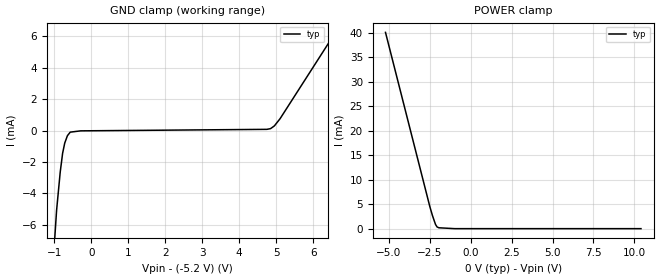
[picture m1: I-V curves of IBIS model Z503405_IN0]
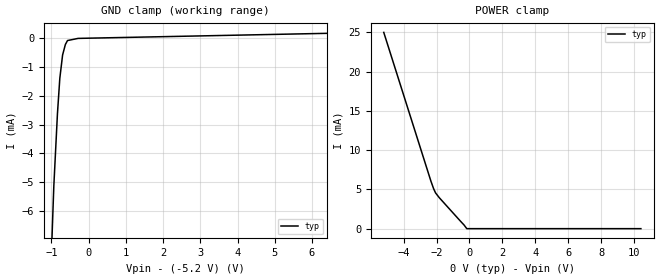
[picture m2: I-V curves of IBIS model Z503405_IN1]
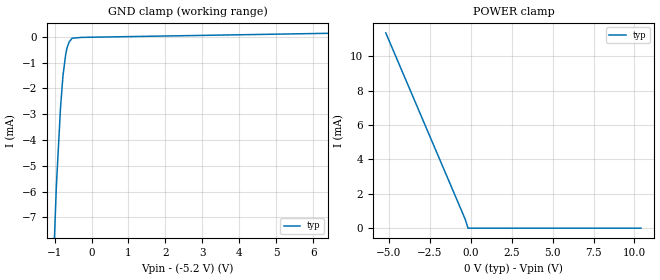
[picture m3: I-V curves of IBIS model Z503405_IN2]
| YOU ARE ONLY AUTHORIZED TO USE THIS SOFTWARE
| ACCORDING TO LICENSOR'S LICENSE RESTRICTIONS.
[IBIS Ver] 3.1
[File Name] mc10e150fn.ibs
[File Rev] 2.0
[Source] Measured and created by ICX Technology
[Date] Friday 7/14/00 9:07:49 AM
[Copyright]
| (C) COPYRIGHT 1993-2000
| MENTOR GRAPHICS CORPORATION
| ICX STANDARD LIBRARY, ICX PROJECT MODELING,
| ICX CUSTOM MODELING, ICX VENDOR MODEL
| ALL RIGHTS RESERVED.
| THE FOLLOWING ARE TRADEMARKS OR SERVICE MARKS OF
| MENTOR GRAPHICS CORPORATION:ICX (R), ICX STANDARD
| LIBRARY(R), ICX PROJECT MODELING(R), ICX CUSTOM
| MODELING(R), qualityIBIS(TM), MODELVIEWER(TM),
| AND MODELEDITOR(TM)
| ALL COPIES OF SOFTWARE, INCLUDING BUT NOT LIMITED TO
| ANY MODIFICATIONS, ENHANCEMENTS OR DERIVATIVE WORKS,
| MUST CONTAIN ALL MENTOR GRAPHICS CORPORATION'S
| NOTICES AND LEGENDS, INCLUDING THOSE EMBEDDED IN
| SOFTWARE AND THOSE AFFIXED TO SOFTWARE MEDIUM
| AND CONTAINER, AS RECEIVED FROM MENTOR GRAPHICS
| CORPORATION.
|  ZAP Model Builder 2.7
[Component] MC10E150FN
[Manufacturer] OnSemiconductor
[Package]
| variable   typ   min   max
R_pkg  .083ohms NA NA
L_pkg  4.299nH NA NA
C_pkg  1.045pF NA NA
[Pin] signal_name  model_name  R_pin  L_pin C_pin
1 VEE POWER .08 3.94n .925p
2 D2 Z503405_IN0 .082 4.14n .995p
3 D1 Z503405_IN0 .084 4.354n 1.065p
4 D0 Z503405_IN0 .086 4.583n 1.135p
5 NC NC .086 4.583n 1.135p
6 VCCO POWER .084 4.354n 1.065p
7 Q0 Z503405_OUT0 .082 4.14n .995p
8 _Q0 Z503405_OUT1 .08 3.94n .925p
9 Q1 Z503405_OUT0 .082 4.14n .995p
10 _Q1 Z503405_OUT1 .084 4.354n 1.065p
11 VCCO POWER .086 4.583n 1.135p
12 Q2 Z503405_OUT0 .086 4.583n 1.135p
13 _Q2 Z503405_OUT1 .084 4.354n 1.065p
14 Q3 Z503405_OUT0 .082 4.14n .995p
15 _Q3 Z503405_OUT1 .08 3.94n .925p
16 VCC POWER .082 4.14n .995p
17 Q4 Z503405_OUT0 .084 4.354n 1.065p
18 _Q4 Z503405_OUT1 .086 4.583n 1.135p
19 Q5 Z503405_OUT0 .086 4.583n 1.135p
20 _Q5 Z503405_OUT1 .084 4.354n 1.065p
21 VCCO POWER .082 4.14n .995p
22 NC NC .08 3.94n .925p
23 LEN1 Z503405_IN1 .082 4.14n .995p
24 LEN2 Z503405_IN1 .084 4.354n 1.065p
25 MR Z503405_IN2 .086 4.583n 1.135p
26 D5 Z503405_IN0 .086 4.583n 1.135p
27 D4 Z503405_IN0 .084 4.354n 1.065p
28 D3 Z503405_IN0 .082 4.14n .995p
| Models and submodels in the file (5): Z503405_IN0 (Input_ECL), Z503405_IN1 (Input_ECL), Z503405_IN2 (Input_ECL), Z503405_OUT0 (Output_ECL), Z503405_OUT1 (Output_ECL)
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| (C) COPYRIGHT 1993-2000
| MENTOR GRAPHICS CORPORATION
| ICX STANDARD LIBRARY, ICX PROJECT MODELING,
| ICX CUSTOM MODELING, ICX VENDOR MODEL
| ALL RIGHTS RESERVED.
| THE FOLLOWING ARE TRADEMARKS OR SERVICE MARKS OF
| MENTOR GRAPHICS CORPORATION:ICX (R), ICX STANDARD
| LIBRARY(R), ICX PROJECT MODELING(R), ICX CUSTOM
| MODELING(R), qualityIBIS(TM), MODELVIEWER(TM),
| AND MODELEDITOR(TM)
| ALL COPIES OF SOFTWARE, INCLUDING BUT NOT LIMITED TO
| ANY MODIFICATIONS, ENHANCEMENTS OR DERIVATIVE WORKS,
| MUST CONTAIN ALL MENTOR GRAPHICS CORPORATION'S
| NOTICES AND LEGENDS, INCLUDING THOSE EMBEDDED IN
| SOFTWARE AND THOSE AFFIXED TO SOFTWARE MEDIUM
| AND CONTAINER, AS RECEIVED FROM MENTOR GRAPHICS
| CORPORATION.
| Model Application Version 1.89 2/18/99.
[Model] Z503405_IN0
Model_type Input_ECL
Vinl = -1.480V
Vinh = -1.130V
C_comp 4.000pF NA NA
| variable typ   min   max
[Voltage Range] -5.200V NA NA
[GND Clamp Reference] -5.200V NA NA
[POWER Clamp Reference] 0.000V NA NA
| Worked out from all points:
|   GND clamp passes 1 mA (typ) near -0.74 V on its own axis
|   POWER clamp passes 1 mA (typ) near -2.16 V on its own axis
[GND Clamp]
-5.2V     -221.6mA   NA         NA
-1.099V   -10.81mA   NA         NA
-938mV    -5.079mA   NA         NA
-840mV    -2.646mA   NA         NA
-775mV    -1.447mA   NA         NA
-718mV    -797.8uA   NA         NA
-645mV    -328.1uA   NA         NA
-569mV    -103.4uA   NA         NA
4.849V    121.5uA    NA         NA
4.951V    293.9uA    NA         NA
5.107V    756.9uA    NA         NA
10.4V     20.16mA    NA         NA
[POWER Clamp]
-5.2V     40.06mA    NA         NA
-2.495V   4.536mA    NA         NA
-2.339V   2.738mA    NA         NA
-2.146V   861.6uA    NA         NA
-2.051V   349.8uA    NA         NA
-1.941V   179uA      NA         NA
-970.5mV  0A         NA         NA
10.4V     0A         NA         NA
| (C) COPYRIGHT 1993-2000
| MENTOR GRAPHICS CORPORATION
| ICX STANDARD LIBRARY, ICX PROJECT MODELING,
| ICX CUSTOM MODELING, ICX VENDOR MODEL
| ALL RIGHTS RESERVED.
| THE FOLLOWING ARE TRADEMARKS OR SERVICE MARKS OF
| MENTOR GRAPHICS CORPORATION:ICX (R), ICX STANDARD
| LIBRARY(R), ICX PROJECT MODELING(R), ICX CUSTOM
| MODELING(R), qualityIBIS(TM), MODELVIEWER(TM),
| AND MODELEDITOR(TM)
| ALL COPIES OF SOFTWARE, INCLUDING BUT NOT LIMITED TO
| ANY MODIFICATIONS, ENHANCEMENTS OR DERIVATIVE WORKS,
| MUST CONTAIN ALL MENTOR GRAPHICS CORPORATION'S
| NOTICES AND LEGENDS, INCLUDING THOSE EMBEDDED IN
| SOFTWARE AND THOSE AFFIXED TO SOFTWARE MEDIUM
| AND CONTAINER, AS RECEIVED FROM MENTOR GRAPHICS
| CORPORATION.
| Model Application Version 1.89 2/18/99.
[Model] Z503405_IN1
Model_type Input_ECL
Vinl = -1.480V
Vinh = -1.130V
C_comp 4.000pF NA NA
| variable typ   min   max
[Voltage Range] -5.200V NA NA
[GND Clamp Reference] -5.200V NA NA
[POWER Clamp Reference] 0.000V NA NA
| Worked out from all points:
|   GND clamp passes 1 mA (typ) near -0.74 V on its own axis
[GND Clamp]
-5.2V     -219.9mA   NA         NA
-1.097V   -10.95mA   NA         NA
-937mV    -5.136mA   NA         NA
-840mV    -2.638mA   NA         NA
-776mV    -1.404mA   NA         NA
-701mV    -592.7uA   NA         NA
-626mV    -229uA     NA         NA
-569mV    -93.41uA   NA         NA
-284.5mV  -19.25uA   NA         NA
10.4V     261uA      NA         NA
[POWER Clamp]
-5.2V     25mA       NA         NA
-2.339V   6.05mA     NA         NA
-2.173V   5.077mA    NA         NA
-2.056V   4.551mA    NA         NA
-1.825V   3.929mA    NA         NA
-541mV    941.2uA    NA         NA
-326.2mV  459.5uA    NA         NA
-163.1mV  0A         NA         NA
10.4V     0A         NA         NA
| (C) COPYRIGHT 1993-2000
| MENTOR GRAPHICS CORPORATION
| ICX STANDARD LIBRARY, ICX PROJECT MODELING,
| ICX CUSTOM MODELING, ICX VENDOR MODEL
| ALL RIGHTS RESERVED.
| THE FOLLOWING ARE TRADEMARKS OR SERVICE MARKS OF
| MENTOR GRAPHICS CORPORATION:ICX (R), ICX STANDARD
| LIBRARY(R), ICX PROJECT MODELING(R), ICX CUSTOM
| MODELING(R), qualityIBIS(TM), MODELVIEWER(TM),
| AND MODELEDITOR(TM)
| ALL COPIES OF SOFTWARE, INCLUDING BUT NOT LIMITED TO
| ANY MODIFICATIONS, ENHANCEMENTS OR DERIVATIVE WORKS,
| MUST CONTAIN ALL MENTOR GRAPHICS CORPORATION'S
| NOTICES AND LEGENDS, INCLUDING THOSE EMBEDDED IN
| SOFTWARE AND THOSE AFFIXED TO SOFTWARE MEDIUM
| AND CONTAINER, AS RECEIVED FROM MENTOR GRAPHICS
| CORPORATION.
| Model Application Version 1.89 2/18/99.
[Model] Z503405_IN2
Model_type Input_ECL
Vinl = -1.480V
Vinh = -1.130V
C_comp 4.000pF NA NA
| variable typ   min   max
[Voltage Range] -5.200V NA NA
[GND Clamp Reference] -5.200V NA NA
[POWER Clamp Reference] 0.000V NA NA
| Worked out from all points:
|   GND clamp passes 1 mA (typ) near -0.73 V on its own axis
[GND Clamp]
-5.2V     -234mA     NA         NA
-1.094V   -11.25mA   NA         NA
-951mV    -5.769mA   NA         NA
-840mV    -2.757mA   NA         NA
-774mV    -1.52mA    NA         NA
-699mV    -675.1uA   NA         NA
-664mV    -434uA     NA         NA
-607mV    -199uA     NA         NA
-526mV    -50.32uA   NA         NA
-263mV    -18.84uA   NA         NA
10.4V     234.1uA    NA         NA
[POWER Clamp]
-5.2V     11.37mA    NA         NA
-345.9mV  521.1uA    NA         NA
-172.9mV  0A         NA         NA
10.4V     0A         NA         NA
